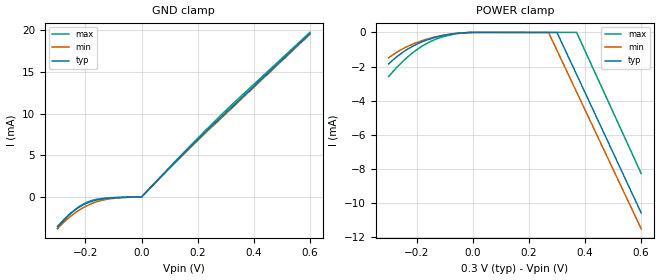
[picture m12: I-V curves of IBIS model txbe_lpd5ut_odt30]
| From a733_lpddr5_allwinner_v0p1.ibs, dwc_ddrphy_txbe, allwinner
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[Model] txbe_lpd5ut_odt30
Model_type   Input
Polarity   Non-Inverting
Enable   Active-High
C_comp   920.282fF   901.970fF   946.214fF
C_comp_pullup   281.728fF   269.113fF   297.621fF
C_comp_pulldown   470.003fF   454.612fF   491.157fF
Vinh = 310.000mV
Vinl = 190.000mV
[Model Spec]
D_overshoot_ampl_h 0.1 NA   NA
D_overshoot_ampl_l 0.1 NA   NA
D_overshoot_area_l 300.000m NA   NA
D_overshoot_area_h 300.000m NA   NA
[Receiver Thresholds]
Vth = 125.000mV
Vth_min = 118.000mV
Vth_max = 143.000mV
Vinh_ac = 60.000mV
Vinh_dc = 60.000mV
Vinl_ac = -60.000mV
Vinl_dc = -60.000mV
Tslew_ac = 5.000ns
Threshold_sensitivity = 0.5
Reference_supply Power_clamp_ref
[Temperature Range]   25.000   125.000   -40.000
[Voltage Range]   300.000mV   270.000mV   370.000mV
[GND Clamp Reference]   0.00V   0.00V   0.00V
[C Comp Corner]
| variable   typ   min   max
C_comp   920.282fF   901.970fF   946.214fF
C_comp_pullup   281.728fF   269.113fF   297.621fF
C_comp_pulldown   470.003fF   454.612fF   491.157fF
[POWER Clamp Reference]   300.000mV   270.000mV   370.000mV
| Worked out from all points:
|   GND clamp passes 1 mA (typ) near -0.21 V on its own axis
|   POWER clamp passes 1 mA (typ) near -0.23 V on its own axis
[GND Clamp]
-300mV    -3.535mA   -3.777mA   -3.796mA
-270mV    -2.482mA   -2.812mA   -2.575mA
-240mV    -1.62mA    -1.978mA   -1.593mA
-210mV    -977uA     -1.314mA   -888.3uA
-190mV    -665uA     -962.9uA   -567.2uA
-160mV    -354.3uA   -570.1uA   -274.5uA
-120mV    -147.2uA   -254.8uA   -108.3uA
-70mV     -46.48uA   -74.94uA   -36.58uA
0V        0A         0A         0A
140mV     4.867mA    4.796mA    4.974mA
270mV     9.156mA    9.012mA    9.385mA
600mV     19.61mA    19.51mA    19.75mA
[Power Clamp]
-300mV    -1.85mA    -1.488mA   -2.59mA
-260mV    -1.292mA   -1.055mA   -1.872mA
-210mV    -777uA     -654.2uA   -1.142mA
-160mV    -422uA     -373.2uA   -612uA
-110mV    -197uA     -182.2uA   -272uA
-60mV     -62uA      -61.2uA    -82uA
-10mV     -7uA       -5.2uA     -2uA
270mV     -1.164uA   -10.11uA   -185.3nA
300mV     -1.3uA     -1.055mA   -207.1nA
370mV     -2.469mA   -3.494mA   -258.8nA
600mV     -10.57mA   -11.51mA   -8.268mA
